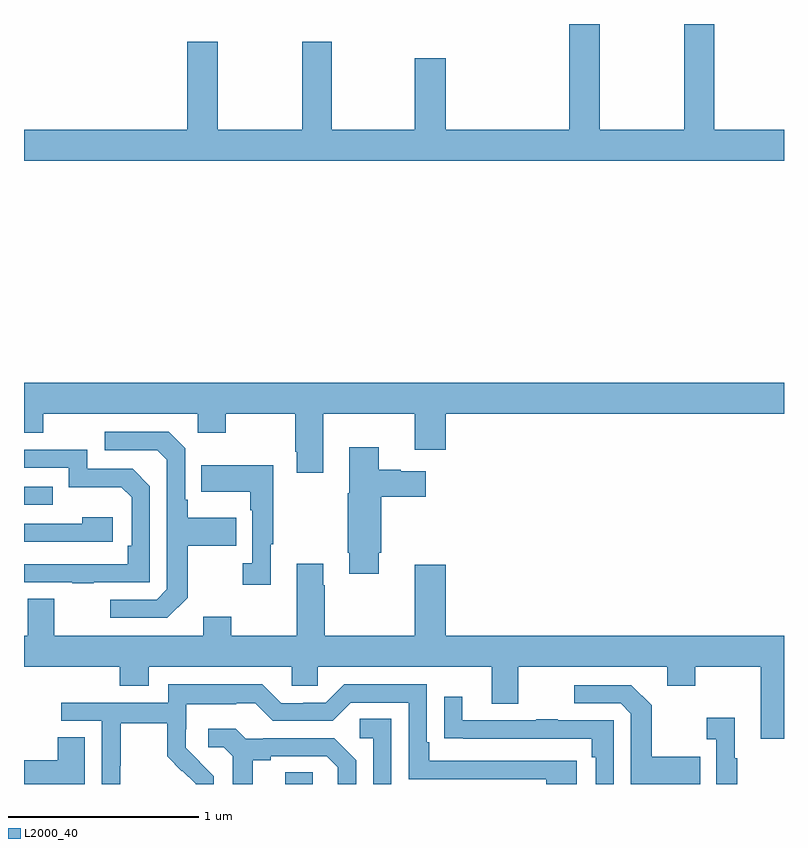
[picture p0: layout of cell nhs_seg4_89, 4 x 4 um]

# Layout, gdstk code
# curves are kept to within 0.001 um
import gdstk
lib = gdstk.Library(unit=1e-6, precision=1e-09)
def R(c, l, rs):  # rectangles x0, y0, x1, y1
    for r in rs: c.add(gdstk.rectangle(r[:2], r[2:], *l))
def P(c, l, *ps):  # polygons
    for p in ps: c.add(gdstk.Polygon(p, *l))
L2000_40 = (2000, 40)

nhs_seg4_89 = lib.new_cell('nhs_seg4_89')
R(nhs_seg4_89, L2000_40, [(116.375,766.9,116.52,766.961), (115,768.369,115.151,768.465)])
P(nhs_seg4_89, L2000_40, [(119,770.344),(118.634,770.344),(118.634,770.9),(118.474,770.9),(118.474,770.344),(118.029,770.344),(118.029,770.9),(117.869,770.9),(117.869,770.344),(117.22,770.344),(117.22,770.719),(117.056,770.719),(117.056,770.344),(116.619,770.344),(116.619,770.806),(116.464,770.806),(116.464,770.344),(116.019,770.344),(116.019,770.806),(115.859,770.806),(115.859,770.344),(115,770.344),(115,770.18),(119,770.18)],
  [(116.575,768.848),(117.056,768.848),(117.056,768.66),(117.22,768.66),(117.22,768.848),(119,768.848),(119,769.012),(115,769.012),(115,768.749),(115.101,768.749),(115.101,768.848),(115.914,768.848),(115.914,768.749),(116.061,768.749),(116.061,768.848),(116.428,768.848),(116.428,768.649),(116.435,768.649),(116.435,768.537),(116.575,768.537)],
  [(115.861,767.881),(115.861,768.154),(116.117,768.154),(116.117,768.301),(115.861,768.301),(115.861,768.397),(115.848,768.397),(115.848,768.666),(115.761,768.753),(115.425,768.753),(115.425,768.657),(115.701,768.657),(115.752,768.606),(115.752,767.925),(115.698,767.871),(115.455,767.871),(115.455,767.775),(115.755,767.775)],
  [(116.866,768.118),(116.879,768.118),(116.879,768.413),(117.115,768.413),(117.115,768.547),(116.982,768.547),(116.982,768.555),(116.866,768.555),(116.866,768.673),(116.711,768.673),(116.711,768.429),(116.704,768.429),(116.704,768.118),(116.711,768.118),(116.711,768.006),(116.866,768.006)],
  [(115.367,767.961),(115.662,767.961),(115.662,768.468),(115.572,768.558),(115.332,768.558),(115.332,768.66),(115,768.66),(115,768.564),(115.236,768.564),(115.236,768.461),(115.513,768.461),(115.566,768.408),(115.566,768.154),(115.546,768.154),(115.546,768.057),(115,768.057),(115,767.961),(115.255,767.961),(115.255,767.956),(115.367,767.956)],
  [(116.299,768.161),(116.311,768.161),(116.311,768.577),(115.933,768.577),(115.933,768.437),(116.19,768.437),(116.19,768.341),(116.202,768.341),(116.202,768.062),(116.151,768.062),(116.151,767.949),(116.299,767.949)],
  [(115.468,768.304),(115.307,768.304),(115.307,768.27),(115,768.27),(115,768.174),(115.468,768.174)],
  [(119,767.68),(117.22,767.68),(117.22,768.055),(117.056,768.055),(117.056,767.68),(116.583,767.68),(116.583,767.945),(116.575,767.945),(116.575,768.058),(116.435,768.058),(116.435,767.68),(116.091,767.68),(116.091,767.779),(115.943,767.779),(115.943,767.68),(115.159,767.68),(115.159,767.875),(115.019,767.875),(115.019,767.68),(115,767.68),(115,767.516),(115.505,767.516),(115.505,767.417),(115.657,767.417),(115.657,767.516),(116.409,767.516),(116.409,767.418),(116.547,767.418),(116.547,767.516),(117.461,767.516),(117.461,767.322),(117.601,767.322),(117.601,767.516),(118.385,767.516),(118.385,767.417),(118.533,767.417),(118.533,767.516),(118.877,767.516),(118.877,767.139),(119,767.139)],
  [(115.506,766.996),(115.509,766.996),(115.509,767.22),(115.753,767.22),(115.753,767.045),(115.83,766.968),(115.833,766.971),(115.904,766.9),(115.998,766.9),(115.998,766.942),(115.852,767.09),(115.852,767.187),(115.854,767.187),(115.854,767.321),(116.117,767.321),(116.117,767.325),(116.217,767.325),(116.31,767.232),(116.625,767.232),(116.721,767.328),(117.024,767.328),(117.024,766.926),(117.749,766.926),(117.749,766.9),(117.91,766.9),(117.91,767.022),(117.133,767.022),(117.133,767.119),(117.12,767.119),(117.12,767.424),(116.685,767.424),(116.589,767.328),(116.471,767.328),(116.471,767.325),(116.355,767.325),(116.255,767.425),(115.758,767.425),(115.758,767.328),(115.197,767.328),(115.197,767.232),(115.41,767.232),(115.41,766.9),(115.506,766.9)],
  [(118.559,767.043),(118.303,767.043),(118.303,767.315),(118.197,767.421),(117.897,767.421),(117.897,767.325),(118.14,767.325),(118.194,767.271),(118.194,766.9),(118.559,766.9)],
  [(118.104,767.235),(117.809,767.235),(117.809,767.24),(117.697,767.24),(117.697,767.235),(117.307,767.235),(117.307,767.359),(117.211,767.359),(117.211,767.14),(117.313,767.14),(117.313,767.139),(117.988,767.139),(117.988,767.042),(118.008,767.042),(118.008,766.9),(118.104,766.9)],
  [(118.753,767.035),(118.741,767.035),(118.741,767.248),(118.593,767.248),(118.593,767.135),(118.644,767.135),(118.644,766.9),(118.753,766.9)],
  [(116.934,767.243),(116.766,767.243),(116.766,767.142),(116.838,767.142),(116.838,766.9),(116.934,766.9)],
  [(116.203,767.024),(116.299,767.024),(116.299,767.046),(116.594,767.046),(116.651,766.989),(116.651,766.9),(116.748,766.9),(116.748,767.026),(116.632,767.142),(116.26,767.142),(116.26,767.139),(116.166,767.139),(116.114,767.191),(115.971,767.191),(115.971,767.094),(116.052,767.094),(116.099,767.047),(116.099,766.9),(116.203,766.9)],
  [(115.321,767.147),(115.178,767.147),(115.178,767.024),(115,767.024),(115,766.9),(115.321,766.9)])

lib.write_gds('nhs_seg4_89.gds')
